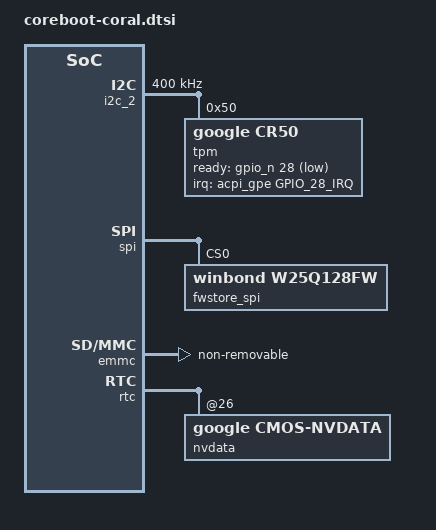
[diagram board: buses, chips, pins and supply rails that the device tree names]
// SPDX-License-Identifier: GPL-2.0+
/*
 * Chromium OS-specific options for coral
 *
 * Copyright 2021 Google LLC
 */

#include <dt-bindings/interrupt-controller/irq.h>
#include <dt-bindings/gpio/gpio.h>
#include <dt-bindings/gpio/x86-gpio.h>

#include <dt-bindings/cros/nvdata.h>

#include <asm/arch-apollolake/gpio.h>
#include <asm/arch-apollolake/iomap.h>

/ {
	acpi_gpe: general-purpose-events {
		u-boot,dm-pre-proper;
		reg = <IOMAP_ACPI_BASE IOMAP_ACPI_SIZE>;
		compatible = "intel,acpi-gpe";
		interrupt-controller;
		#interrupt-cells = <2>;
	};

	pci {
		compatible = "pci-x86";
		#address-cells = <3>;
		#size-cells = <2>;
		ranges = <0x02000000 0x0 0xc0000000 0xc0000000 0 0x10000000
			0x42000000 0x0 0xb0000000 0xb0000000 0 0x10000000
			0x01000000 0x0 0x1000 0x1000 0 0xefff>;

		i2c_2: i2c2@16,2 {
			compatible = "intel,apl-i2c", "snps,designware-i2c-pci";
			reg = <0x0200b210 0 0 0 0>;
			#address-cells = <1>;
			#size-cells = <0>;
			clock-frequency = <400000>;
			i2c,speeds = <100000 400000 1000000>;
			i2c-scl-rising-time-ns = <57>;
			i2c-scl-falling-time-ns = <28>;
			tpm: tpm@50 {
				reg = <0x50>;
				compatible = "google,cr50";
				u-boot,i2c-offset-len = <0>;
				ready-gpios = <&gpio_n 28 GPIO_ACTIVE_LOW>;
				interrupts-extended = <&acpi_gpe GPIO_28_IRQ
					 IRQ_TYPE_EDGE_FALLING>;
				acpi,hid = "GOOG0005";
				acpi,ddn = "I2C TPM";
				acpi,name = "TPMI";

				secdata {
					u-boot,dm-vpl;
					compatible = "google,tpm-secdata";
					nvdata,types = <CROS_NV_SECDATAF
						CROS_NV_SECDATAK
						CROS_NV_MRC_REC_HASH>;
				};
			};
		};

		p2sb: p2sb@d,0 {
			u-boot,dm-pre-reloc;
			reg = <0x02006810 0 0 0 0>;
			compatible = "intel,p2sb";
			early-regs = <IOMAP_P2SB_BAR 0x100000>;
			pci,no-autoconfig;

			n {
				compatible = "intel,apl-pinctrl";
				u-boot,dm-pre-reloc;
				intel,p2sb-port-id = <PID_GPIO_N>;
				acpi,path = "\\_SB.GPO0";
				gpio_n: gpio-n {
					compatible = "intel,gpio";
					u-boot,dm-pre-reloc;
					gpio-controller;
					#gpio-cells = <2>;
					linux-name = "INT3452:00";
				};
			};
		};

		spi: fast-spi@d,2 {
			u-boot,dm-pre-proper;
			u-boot,dm-spl;
			u-boot,dm-vpl;
			reg = <0x02006a10 0 0 0 0>;
			#address-cells = <1>;
			#size-cells = <0>;
			compatible = "intel,fast-spi";
			early-regs = <IOMAP_SPI_BASE 0x1000>;
			intel,hardware-seq = <1>;

			fwstore_spi: spi-flash@0 {
				#size-cells = <1>;
				#address-cells = <1>;
				u-boot,dm-pre-proper;
				u-boot,dm-spl;
				u-boot,dm-vpl;
				reg = <0>;
				compatible = "winbond,w25q128fw",
					 "jedec,spi-nor";
			};
		};

		emmc: emmc@1c,0 {
			reg = <0x0000e000 0 0 0 0>;
			compatible = "intel,apl-emmc";
			non-removable;
		};

		pch: pch@1f,0 {
			reg = <0x0000f800 0 0 0 0>;
			compatible = "simple-bus";
			u-boot,dm-pre-reloc;
			#address-cells = <1>;
			#size-cells = <1>;

			lpc: lpc {
				compatible = "simple-bus";
				#address-cells = <1>;
				#size-cells = <0>;
				cros_ec: cros-ec {
					compatible = "google,cros-ec-lpc";
					reg = <0x204 1 0x200 1 0x880 0x80>;

					/*
					 * Describes the flash memory within
					 * the EC
					 */
					#address-cells = <1>;
					#size-cells = <1>;

					flash@8000000 {
						reg = <0x08000000 0x20000>;
						erase-value = <0xff>;
					};

					cros_ec_vboot: vboot {
						compatible = "google,cros-ec-vboot";
					};

					nvdata-vstore {
						u-boot,dm-vpl;
						compatible = "google,cros-ec-nvdata";
						nvdata,types = <CROS_NV_VSTORE>;
					};

					lid-open {
						u-boot,dm-vpl;
						/*
						 * Ignore lid transitions after
						 * boot
						 */
						primary-only;
						compatible = "google,cros-ec-flag";
					};

					recovery {
						u-boot,dm-vpl;
						compatible = "google,cros-ec-flag";
						primary-only;
					};
				};
			};
		};
	};
};


&rtc {
	#address-cells = <1>;
	#size-cells = <0>;
	nvdata {
		u-boot,dm-vpl;
		compatible = "google,cmos-nvdata";
		reg = <0x26>;
		nvdata,types = <CROS_NV_DATA>;
	};
};
